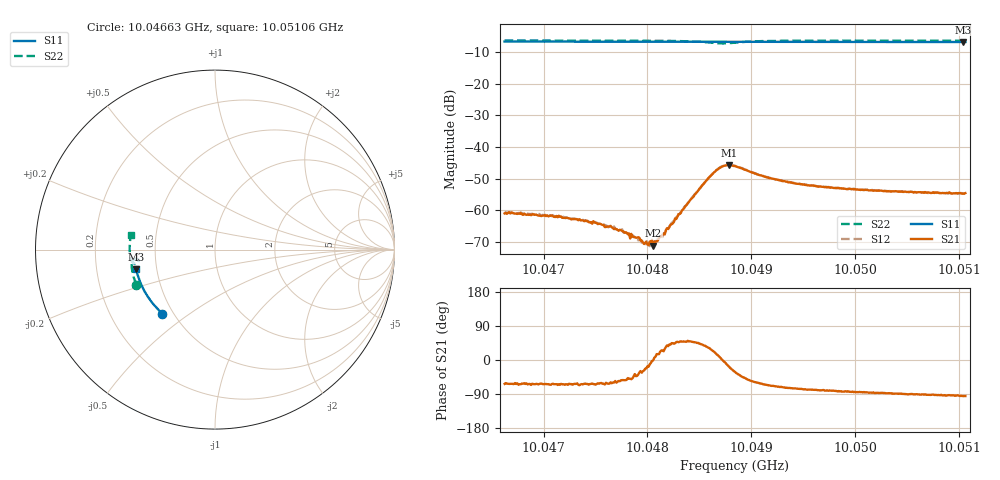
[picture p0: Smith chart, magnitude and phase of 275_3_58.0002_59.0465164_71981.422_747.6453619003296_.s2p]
#  HZ  S  RI  R  50.00
! Rohde & Schwarz Vector Network Analyzer
! Rohde-Schwarz,ZNB20-2Port,1311601062101988,3.16
! Created: UTC 3/21/2024, 1:02:39 AM
! freq[Hz]  re:S11  im:S11  re:S21  im:S21  re:S12  im:S12  re:S22  im:S22
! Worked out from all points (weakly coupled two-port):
!   401 points, 10.04663 GHz to 10.05106 GHz, reference 50 ohm
!   highest |S21| = -45.74 dB at 10.04879 GHz (marker M1); lowest = -71.2 dB at 10.04806 GHz (marker M2)
!   lowest |S11| = -6.9 dB at 10.05104 GHz (marker M3), VSWR 2.66, Z = 19.1 - j5.32 ohm
!   |S11| at or under -10 dB: nowhere
!   |S22| runs from -7.3 to -6.4 dB; largest |S21 - S12| = 0.00037
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1.0046626e10  -0.2926 -0.3561  0.000403 -0.000793  0.000476 -0.000799  -0.4377 -0.1959
1.0047146e10  -0.3178 -0.3323  0.000361 -0.000735  0.000416 -0.000711  -0.45 -0.1629
1.0047368e10  -0.3278 -0.3217  0.000307 -0.000619  0.000334 -0.000588  -0.4546 -0.1483
1.0047579e10  -0.3371 -0.3113  0.000269 -0.000518  0.000304 -0.000515  -0.4583 -0.1337
1.0047756e10  -0.3446 -0.3025  0.000282 -0.000375  0.000325 -0.000382  -0.461 -0.1213
1.00479e10  -0.3507 -0.2949  0.000275 -0.000247  0.000286 -0.000228  -0.4627 -0.1105
1.0047955e10  -0.3529 -0.292  0.000271 -0.000155  0.000269 -0.000153  -0.4634 -0.1061
1.0047989e10  -0.3544 -0.2903  0.000292 -0.00012  0.000312 -7.89e-05  -0.4636 -0.1036
1.0048055e10  -0.357 -0.2868  0.000277 -2.99e-06  0.00031 3.68e-05  -0.4641 -0.0983
1.0048077e10  -0.3578 -0.2856  0.000317 4.92e-05  0.000318 7.84e-05  -0.4643 -0.0965
1.0048111e10  -0.359 -0.284  0.000347 9.63e-05  0.00032 0.000122  -0.4643 -0.094
1.0048144e10  -0.3604 -0.2822  0.000371 0.000176  0.000336 0.000174  -0.4645 -0.0912
1.0048277e10  -0.3656 -0.2749  0.000491 0.000533  0.000485 0.000603  -0.4638 -0.0793
1.0048609e10  -0.3776 -0.2568  0.0031 0.00165  0.003 0.00185  -0.4402 -0.0507
1.0048709e10  -0.381 -0.2512  0.0048 0.000303  0.00482 0.0006  -0.4264 -0.0598
1.0048787e10  -0.3835 -0.2472  0.00491 -0.0016  0.00503 -0.00134  -0.4287 -0.0734
1.0048842e10  -0.3854 -0.2441  0.00424 -0.00261  0.00443 -0.00237  -0.4367 -0.0787
1.0049186e10  -0.397 -0.2245  0.00122 -0.00296  0.00141 -0.0029  -0.4679 -0.0552
1.0049585e10  -0.4086 -0.201  0.000497 -0.00241  0.000609 -0.0024  -0.4746 -0.0227
1.0050327e10  -0.4266 -0.1557  8.05e-05 -0.00199  0.000192 -0.002  -0.4749 0.0301
1.0051036e10  -0.4392 -0.1109  -0.000165 -0.00181  -5.54e-05 -0.00183  -0.4692 0.0776
1.0051058e10  -0.4397 -0.1095  -0.000164 -0.00185  -5.99e-05 -0.00184  -0.469 0.0791
